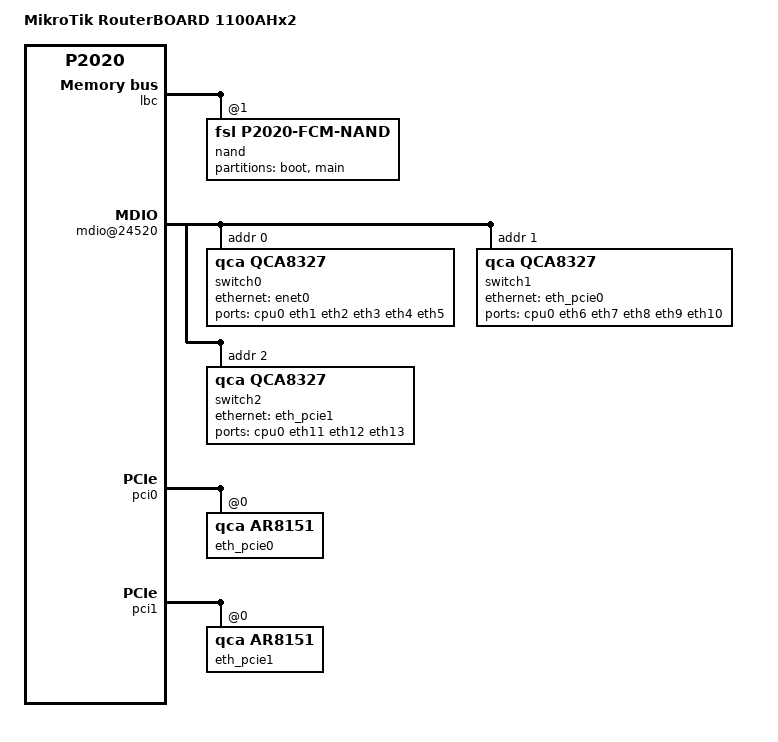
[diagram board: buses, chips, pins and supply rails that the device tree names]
// SPDX-License-Identifier: GPL-2.0-or-later OR MIT
/*
 * MikroTik RouterBOARD 1100AHx2 Device Tree Source File
 *
 * Copyright (C) 2026 Abdulkader Alrezej
 */

/dts-v1/;

/include/ "fsl/p2020si-pre.dtsi"

#include <dt-bindings/gpio/gpio.h>
#include <dt-bindings/input/input.h>

/ {
	model = "MikroTik RouterBOARD 1100AHx2";
	compatible = "mikrotik,routerboard-1100ahx2", "fsl,p2020";

	aliases {
		ethernet0 = &enet0;
		ethernet1 = &enet2;
		serial0 = &serial0;
		serial1 = &serial1;
	};

	chosen {
		bootargs-override = "console=ttyS0,115200 root=/dev/mtdblock2";
	};

	memory {
		device_type = "memory";
	};

	lbc: localbus@ffe05000 {
		reg = <0 0xffe05000 0 0x1000>;

		/* NAND Flash */
		ranges = <0x1 0x0 0x0 0xffa00000 0x00040000>;

		nand@1,0 {
			#address-cells = <1>;
			#size-cells = <1>;
			compatible = "fsl,p2020-fcm-nand", "fsl,elbc-fcm-nand";
			reg = <0x1 0x0 0x40000>;

			partitions {
				compatible = "fixed-partitions";
				#address-cells = <1>;
				#size-cells = <1>;

				partition@0 {
					label = "boot";
					reg = <0x00000000 0x00800000>;
				};

				partition@800000 {
					label = "main";
					reg = <0x00800000 0x07800000>;
				};
			};
		};
	};

	soc: soc@ffe00000 {
		ranges = <0x0 0x0 0xffe00000 0x100000>;

		gpio0: gpio-controller@fc00 {
		};

		i2c@3000 {
		};

		mdio@24520 {
			status = "okay";

			switch0: switch@0 {
				compatible = "qca,qca8327";
				reg = <0>;
				#address-cells = <1>;
				#size-cells = <0>;

				ports {
					#address-cells = <1>;
					#size-cells = <0>;

					port@0 {
						reg = <0>;
						label = "cpu0";
						phy-mode = "rgmii-id";
						ethernet = <&enet0>;

						fixed-link {
							speed = <1000>;
							full-duplex;
						};
					};

					port@1 { reg = <1>; label = "eth1"; };
					port@2 { reg = <2>; label = "eth2"; };
					port@3 { reg = <3>; label = "eth3"; };
					port@4 { reg = <4>; label = "eth4"; };
					port@5 { reg = <5>; label = "eth5"; };
				};
			};

			switch1: switch@1 {
				compatible = "qca,qca8327";
				reg = <1>;
				#address-cells = <1>;
				#size-cells = <0>;

				ports {
					#address-cells = <1>;
					#size-cells = <0>;

					port@0 {
						reg = <0>;
						label = "cpu0";
						phy-mode = "rgmii-id";
						ethernet = <&eth_pcie0>;

						fixed-link {
							speed = <1000>;
							full-duplex;
						};
					};

					port@1 { reg = <1>; label = "eth6"; };
					port@2 { reg = <2>; label = "eth7"; };
					port@3 { reg = <3>; label = "eth8"; };
					port@4 { reg = <4>; label = "eth9"; };
					port@5 { reg = <5>; label = "eth10"; };
				};
			};

			switch2: switch@2 {
				compatible = "qca,qca8327";
				reg = <2>;
				#address-cells = <1>;
				#size-cells = <0>;

				ports {
					#address-cells = <1>;
					#size-cells = <0>;

					port@0 {
						reg = <0>;
						label = "cpu0";
						phy-mode = "rgmii-id";
						ethernet = <&eth_pcie1>;

						fixed-link {
							speed = <1000>;
							full-duplex;
						};
					};

					port@1 { reg = <1>; label = "eth11"; };
					port@2 { reg = <2>; label = "eth12"; };
					port@3 { reg = <3>; label = "eth13"; };
				};
			};
		};

		enet0: ethernet@24000 {
			phy-connection-type = "rgmii-id";

			fixed-link {
				speed = <1000>;
				full-duplex;
			};
		};

		enet1: ethernet@25000 {
			status = "disabled";
		};

		enet2: ethernet@26000 {
			status = "disabled";
		};
	};

	pci0: pcie@ffe08000 {
		reg = <0 0xffe08000 0 0x1000>;
		ranges  = <0x2000000 0x0 0xc0000000 0x0 0xc0000000 0x0 0x20000000
				   0x1000000 0x0 0x00000000 0x0 0xffc20000 0x0 0x10000>;
		status = "okay";

		pcie@0 {
			ranges = <  0x2000000 0x0 0xc0000000
						0x2000000 0x0 0xc0000000
						0x0 0x20000000

						0x1000000 0x0 0x0
						0x1000000 0x0 0x0
						0x0 0x100000>;

			eth_pcie0: ethernet@0,0 {
				compatible = "qca,ar8151";
				reg = <0x0000 0 0 0 0>;
			};
		};
	};

	pci1: pcie@ffe09000 {
		reg = <0 0xffe09000 0 0x1000>;
		ranges = <0x2000000 0x0 0xa0000000 0 0xa0000000 0x0 0x20000000
				  0x1000000 0x0 0x00000000 0 0xffc10000 0x0 0x10000>;
		status = "okay";

		pcie@0 {
			ranges = <  0x2000000 0x0 0xa0000000
						0x2000000 0x0 0xa0000000
						0x0 0x20000000

						0x1000000 0x0 0x0
						0x1000000 0x0 0x0
						0x0 0x100000>;
			
			eth_pcie1: ethernet@0,0 {
				compatible = "qca,ar8151";
				reg = <0x0000 0 0 0 0>;
			};
		};
	};

	pci2: pcie@ffe0a000 {
		status = "disabled";
	};
};

/include/ "fsl/p2020si-post.dtsi"
